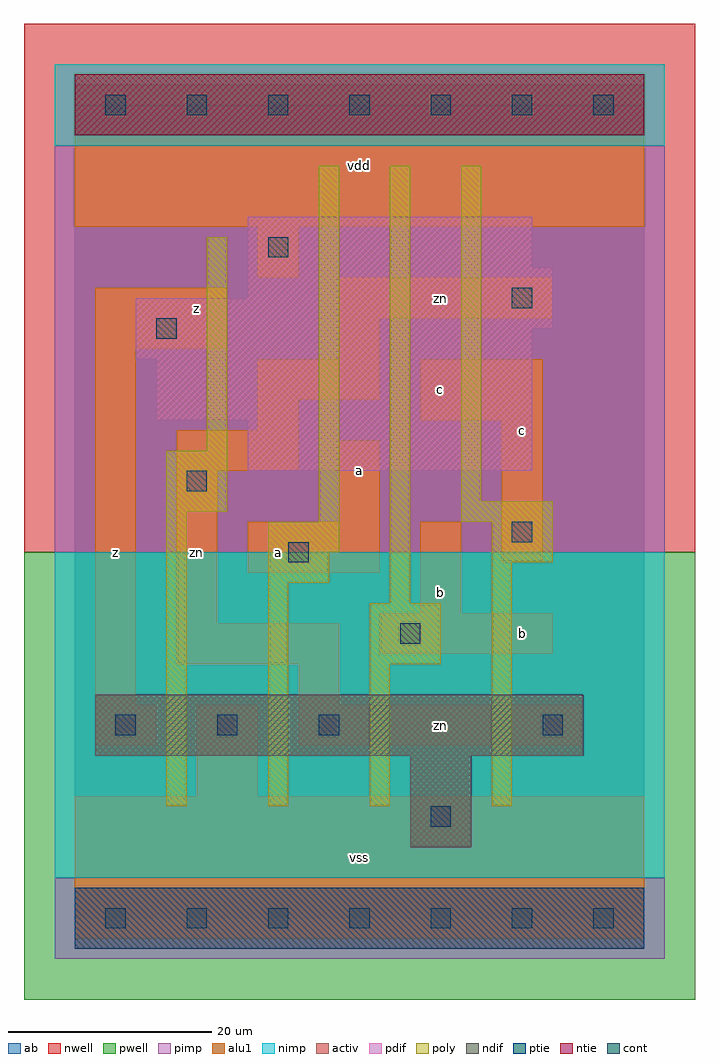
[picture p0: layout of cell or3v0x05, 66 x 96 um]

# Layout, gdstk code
import gdstk
lib = gdstk.Library(unit=1e-6, precision=1e-09)
def R(c, l, rs):  # rectangles x0, y0, x1, y1
    for r in rs: c.add(gdstk.rectangle(r[:2], r[2:], *l))
def A(c, l, x, y, w, h, nx, ny, dx, dy):  # array of equal rectangles
    R(c, l, [(x+i*dx, y+j*dy, x+i*dx+w, y+j*dy+h) for i in range(nx) for j in range(ny)])
ndif = (3, 0)
pdif = (4, 0)
ntie = (5, 0)
ptie = (6, 0)
cont = (25, 0)
pwell = (41, 0)
nwell = (42, 0)
activ = (43, 0)
pimp = (44, 0)
nimp = (45, 0)
poly = (46, 0)
alu1 = (49, 0)
ab = (63, 0)

or3v0x05 = lib.new_cell('or3v0x05')
R(or3v0x05, ndif, [(33,7,39,16), (2,16,50,22)])
R(or3v0x05, pdif, [(17,44,45,49), (8,49,45,55), (6,55,45,58), (6,58,47,61), (17,61,47,64), (17,64,45,69)])
R(or3v0x05, ntie, [(0,77,56,83)])
R(or3v0x05, ptie, [(0,-3,56,3)])
A(or3v0x05, cont, 3, -1, 2, 2, 7, 2, 8, 80)
A(or3v0x05, cont, 4, 18, 2, 2, 3, 1, 10, 0)
R(or3v0x05, cont, [(35,9,37,11), (46,18,48,20), (32,27,34,29), (21,35,23,37), (43,37,45,39), (11,42,13,44), (8,57,10,59), (43,60,45,62), (19,65,21,67)])
R(or3v0x05, pwell, [(-5,-8,61,36)])
R(or3v0x05, nwell, [(-5,36,61,88)])
R(or3v0x05, activ, [(0,-3,56,3), (33,7,39,16), (2,16,50,22), (17,44,45,49), (8,49,45,55), (6,55,45,58), (6,58,47,61), (17,61,47,64), (17,64,45,69), (0,77,56,83)])
R(or3v0x05, pimp, [(-2,-4,58,4), (-2,36,58,76)])
R(or3v0x05, nimp, [(-2,4,58,36), (-2,76,58,84)])
R(or3v0x05, poly, [(9,11,11,40), (19,11,21,33), (29,11,31,25), (41,11,43,35), (29,25,36,31), (31,31,33,74), (19,33,25,36), (41,35,47,39), (19,36,26,39), (24,39,26,74), (38,39,47,41), (9,40,15,46), (38,41,40,74), (13,46,15,67)])
R(or3v0x05, alu1, [(0,-2,56,12), (12,12,18,21), (2,17,8,21), (22,17,50,21), (2,21,6,56), (22,21,26,25), (10,25,26,29), (30,26,47,30), (10,29,14,44), (34,30,38,39), (17,34,30,39), (42,35,46,49), (26,39,30,47), (10,44,22,48), (18,48,22,51), (34,49,46,55), (18,51,30,55), (26,55,30,59), (2,56,15,62), (26,59,47,63), (18,63,22,68), (0,68,56,82)])
R(or3v0x05, ab, [(0,0,56,80)])
or3v0x05.add(gdstk.Label('zn', (12,36), layer=49, texttype=0))
or3v0x05.add(gdstk.Label('zn', (36,19), layer=49, texttype=0))
or3v0x05.add(gdstk.Label('zn', (36,61), layer=49, texttype=0))
or3v0x05.add(gdstk.Label('z', (4,36), layer=49, texttype=0))
or3v0x05.add(gdstk.Label('a', (20,36), layer=49, texttype=0))
or3v0x05.add(gdstk.Label('z', (12,60), layer=49, texttype=0))
or3v0x05.add(gdstk.Label('vss', (28,6), layer=49, texttype=0))
or3v0x05.add(gdstk.Label('b', (36,32), layer=49, texttype=0))
or3v0x05.add(gdstk.Label('a', (28,44), layer=49, texttype=0))
or3v0x05.add(gdstk.Label('c', (36,52), layer=49, texttype=0))
or3v0x05.add(gdstk.Label('vdd', (28,74), layer=49, texttype=0))
or3v0x05.add(gdstk.Label('b', (44,28), layer=49, texttype=0))
or3v0x05.add(gdstk.Label('c', (44,48), layer=49, texttype=0))

lib.write_gds('or3v0x05.gds')
